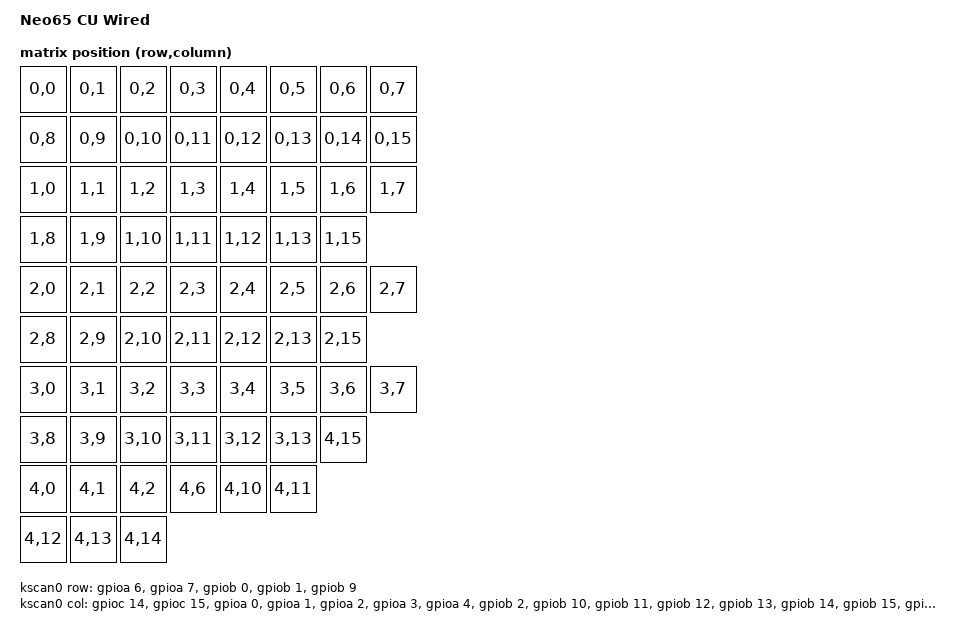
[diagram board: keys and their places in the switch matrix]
/*
 * Copyright (c) 2026 Neo65 CU ZMK contributors
 * SPDX-License-Identifier: MIT
 */

/dts-v1/;

#include <st/f0/stm32f072Xb.dtsi>
#include <st/f0/stm32f072c(8-b)tx-pinctrl.dtsi>

#include <dt-bindings/zmk/matrix_transform.h>

/ {
    model = "Neo65 CU Wired";
    compatible = "neo,neo65cu", "st,stm32f072";

    chosen {
        zephyr,sram = &sram0;
        zephyr,flash = &flash0;
        zephyr,code-partition = &code_partition;
        zmk,kscan = &kscan0;
        zmk,matrix-transform = &default_transform;
    };

    aliases {
        caps-led = &caps_lock_led;
    };

    leds {
        compatible = "gpio-leds";

        caps_lock_led: caps_lock_led {
            gpios = <&gpioc 13 GPIO_ACTIVE_HIGH>;
            label = "Caps Lock";
        };
    };

    /*
     * Keep every switch position exposed by QMK's LAYOUT_wired. Alternate
     * split-backspace, ISO, split-left-shift, and bottom-row footprints can
     * therefore use the same firmware; unpopulated footprints are harmless.
     */
    default_transform: keymap_transform_0 {
        compatible = "zmk,matrix-transform";
        columns = <16>;
        rows = <5>;
        map = <
            RC(0,0) RC(0,1) RC(0,2) RC(0,3) RC(0,4) RC(0,5) RC(0,6) RC(0,7)
            RC(0,8) RC(0,9) RC(0,10) RC(0,11) RC(0,12) RC(0,13) RC(0,14) RC(0,15)

            RC(1,0) RC(1,1) RC(1,2) RC(1,3) RC(1,4) RC(1,5) RC(1,6) RC(1,7)
            RC(1,8) RC(1,9) RC(1,10) RC(1,11) RC(1,12) RC(1,13) RC(1,15)

            RC(2,0) RC(2,1) RC(2,2) RC(2,3) RC(2,4) RC(2,5) RC(2,6) RC(2,7)
            RC(2,8) RC(2,9) RC(2,10) RC(2,11) RC(2,12) RC(2,13) RC(2,15)

            RC(3,0) RC(3,1) RC(3,2) RC(3,3) RC(3,4) RC(3,5) RC(3,6) RC(3,7)
            RC(3,8) RC(3,9) RC(3,10) RC(3,11) RC(3,12) RC(3,13) RC(4,15)

            RC(4,0) RC(4,1) RC(4,2) RC(4,6) RC(4,10) RC(4,11)
            RC(4,12) RC(4,13) RC(4,14)
        >;
    };

    kscan0: kscan {
        compatible = "zmk,kscan-gpio-matrix";

        /* QMK COL2ROW scans by driving rows low and reading pulled-up cols. */
        diode-direction = "row2col";
        debounce-press-ms = <5>;
        debounce-release-ms = <5>;

        col-gpios
            = <&gpioc 14 (GPIO_ACTIVE_LOW | GPIO_PULL_UP)>
            , <&gpioc 15 (GPIO_ACTIVE_LOW | GPIO_PULL_UP)>
            , <&gpioa 0  (GPIO_ACTIVE_LOW | GPIO_PULL_UP)>
            , <&gpioa 1  (GPIO_ACTIVE_LOW | GPIO_PULL_UP)>
            , <&gpioa 2  (GPIO_ACTIVE_LOW | GPIO_PULL_UP)>
            , <&gpioa 3  (GPIO_ACTIVE_LOW | GPIO_PULL_UP)>
            , <&gpioa 4  (GPIO_ACTIVE_LOW | GPIO_PULL_UP)>
            , <&gpiob 2  (GPIO_ACTIVE_LOW | GPIO_PULL_UP)>
            , <&gpiob 10 (GPIO_ACTIVE_LOW | GPIO_PULL_UP)>
            , <&gpiob 11 (GPIO_ACTIVE_LOW | GPIO_PULL_UP)>
            , <&gpiob 12 (GPIO_ACTIVE_LOW | GPIO_PULL_UP)>
            , <&gpiob 13 (GPIO_ACTIVE_LOW | GPIO_PULL_UP)>
            , <&gpiob 14 (GPIO_ACTIVE_LOW | GPIO_PULL_UP)>
            , <&gpiob 15 (GPIO_ACTIVE_LOW | GPIO_PULL_UP)>
            , <&gpioa 8  (GPIO_ACTIVE_LOW | GPIO_PULL_UP)>
            , <&gpioa 9  (GPIO_ACTIVE_LOW | GPIO_PULL_UP)>
            ;

        row-gpios
            = <&gpioa 6 GPIO_ACTIVE_LOW>
            , <&gpioa 7 GPIO_ACTIVE_LOW>
            , <&gpiob 0 GPIO_ACTIVE_LOW>
            , <&gpiob 1 GPIO_ACTIVE_LOW>
            , <&gpiob 9 GPIO_ACTIVE_LOW>
            ;
    };

    behaviors {
        neo_dfu: neo_dfu {
            compatible = "zmk,behavior-neo65cu-rom-dfu";
            #binding-cells = <0>;
            display-name = "Neo65 CU ROM DFU";
        };
    };
};
/* The vendor QMK firmware also uses internal HSI/PLL rather than HSE/LSE. */
&clk_hsi {
    status = "okay";
};

&pll {
    prediv = <1>;
    mul = <6>;
    clocks = <&clk_hsi>;
    status = "okay";
};

&rcc {
    clocks = <&pll>;
    clock-frequency = <DT_FREQ_M(48)>;
    ahb-prescaler = <1>;
    apb1-prescaler = <1>;
};

zephyr_udc0: &usb {
    pinctrl-0 = <&usb_dm_pa11 &usb_dp_pa12>;
    pinctrl-names = "default";
    num-bidir-endpoints = <4>;
    status = "okay";
};

&flash0 {
    partitions {
        compatible = "fixed-partitions";
        #address-cells = <1>;
        #size-cells = <1>;

        /*
         * STM32 main flash only: 0x08000000..0x0801ffff.
         * The immutable ROM DFU at 0x1fffc800 is outside this controller and
         * cannot be linked into or written by this application partition.
         */
        code_partition: partition@0 {
            label = "code";
            reg = <0x00000000 0x00020000>;
        };
    };
};
